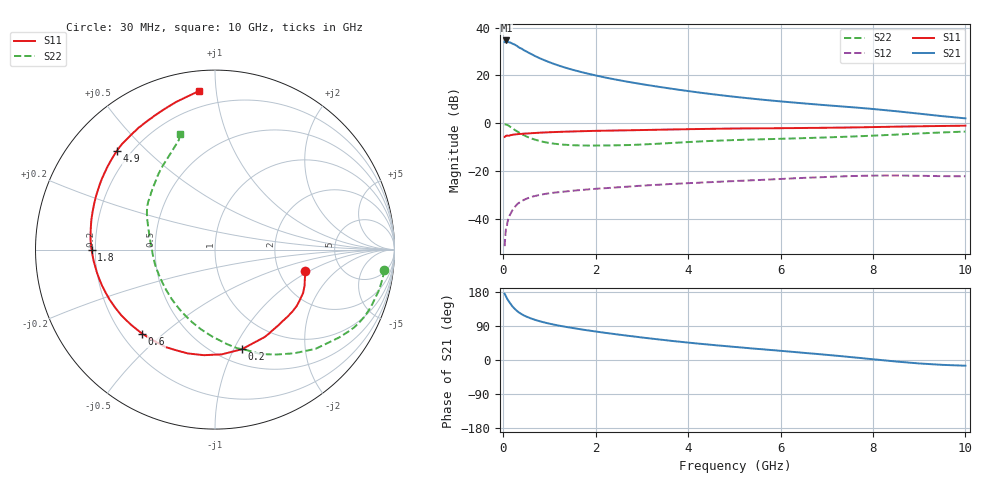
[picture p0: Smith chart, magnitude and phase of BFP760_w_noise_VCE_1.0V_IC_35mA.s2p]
! Infineon Technologies  Discrete & RF Semiconductors
! BFP760
! VCE =  1.0 V,  IC =  35 mA
! Common Emitter S-Parameters:  Nov 2012
# GHz  S  MA  R  50
!  f  S11  S21  S12  S22
! GHz  MAG  ANG  MAG  ANG  MAG  ANG  MAG  ANG
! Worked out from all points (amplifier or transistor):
!   99 points, 30 MHz to 10 GHz, reference 50 ohm
!   highest |S21| = 34.6 dB at 70 MHz (marker M1)
!   |S21| within 3 dB of that: start of sweep to 347 MHz
!   unconditionally stable (mu >= 1): 3.765 GHz to end of sweep
!   at 350 MHz: K = 0.28, MSG = 32.3 dB, |S12| = -33.1 dB
!   at 3.5 GHz: K = 0.98, MSG = 20.2 dB, |S12| = -25.5 dB
!   at 10 GHz: K = 1.13, MAG = 9.9 dB, |S12| = -22.2 dB
!   lowest NFmin = 0.83 dB at 900 MHz
!   S11 on the Smith chart (normalised r, x): 30 MHz: 2.80, -0.93; 200 MHz: 0.65, -1.08; 600 MHz: 0.28, -0.43; 1.8 GHz: 0.19, -0.00; 4.9 GHz: 0.15, +0.41; 10 GHz: 0.11, +0.90
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0.03  0.5183 -13.6  50.02 174.9  0.0027 83.1  0.9495 -6.9
0.05  0.5377 -21.8  52.94 170.4  0.005 79.6  0.9442 -11.9
0.07  0.5498 -30.6  53.89 165.3  0.0069 69.3  0.9321 -16.9
0.09  0.5525 -38.7  52.51 160.7  0.0084 76.7  0.9207 -21.7
0.12  0.5502 -50.5  49.58 155.0  0.0105 70.5  0.8889 -29.1
0.15  0.5602 -60.5  48.99 149.7  0.0124 66.1  0.8473 -35.3
0.2  0.575 -75.0  46.16 141.4  0.0153 61.4  0.7873 -44.6
0.25  0.5849 -86.4  44.09 134.9  0.0178 57.9  0.7265 -52.7
0.35  0.598 -104.6  37.96 124.6  0.0221 51.8  0.6355 -66.4
0.45  0.6089 -116.9  33.64 117.4  0.0252 47.2  0.5632 -77.3
0.6  0.62 -130.8  28.21 109.7  0.0288 42.3  0.4852 -91.7
0.8  0.6373 -144.6  22.67 101.9  0.032 38.1  0.4247 -107.3
1  0.6501 -154.7  18.89 95.9  0.0345 35.5  0.3876 -120.4
1.7  0.6832 -177.4  11.71 80.6  0.0404 31.7  0.343 -152.0
1.8  0.6875 -179.8  11.1 78.7  0.0412 31.4  0.3432 -155.4
2.5  0.7089 166.2  7.986 67.0  0.046 30.2  0.3472 -174.6
3.4  0.7345 151.8  5.722 53.8  0.0522 28.8  0.3764 166.9
4.9  0.7754 134.9  3.677 35.7  0.0614 25.7  0.4426 148.7
5.1  0.7794 133.3  3.501 33.6  0.0626 25.3  0.4493 147.0
6.7  0.8017 121.9  2.512 16.9  0.0735 20.6  0.4962 133.1
8.5  0.8508 104.7  1.789 -4.0  0.0811 9.5  0.5799 116.4
10  0.8904 95.6  1.268 -15.1  0.078 5.2  0.671 106.9
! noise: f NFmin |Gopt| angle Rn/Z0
0.9  0.83  0.2  -166  0.09
1.8  0.88  0.21  -158  0.07
2.4  0.92  0.22  -148  0.08
3.5  1.04  0.22  -138  0.13
5.5  1.28  0.29  -90  0.41
8  1.54  0.41  -68  0.48
